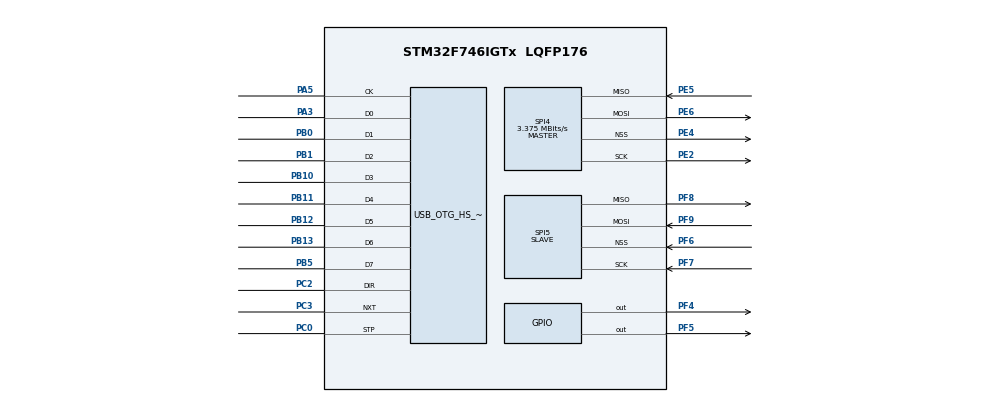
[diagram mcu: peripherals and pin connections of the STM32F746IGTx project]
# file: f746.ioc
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Dma.Request0=SPI4_RX
Dma.Request1=SPI4_TX
Dma.Request2=SPI5_RX
Dma.Request3=SPI5_TX
Dma.SPI4_RX.0.Direction=DMA_PERIPH_TO_MEMORY
Dma.SPI4_RX.0.FIFOMode=DMA_FIFOMODE_DISABLE
Dma.SPI4_RX.0.Instance=DMA2_Stream0
Dma.SPI4_RX.0.MemDataAlignment=DMA_MDATAALIGN_HALFWORD
Dma.SPI4_RX.0.MemInc=DMA_MINC_ENABLE
Dma.SPI4_RX.0.Mode=DMA_NORMAL
Dma.SPI4_RX.0.PeriphDataAlignment=DMA_PDATAALIGN_HALFWORD
Dma.SPI4_RX.0.PeriphInc=DMA_PINC_DISABLE
Dma.SPI4_RX.0.Priority=DMA_PRIORITY_LOW
Dma.SPI4_TX.1.Direction=DMA_MEMORY_TO_PERIPH
Dma.SPI4_TX.1.FIFOMode=DMA_FIFOMODE_DISABLE
Dma.SPI4_TX.1.Instance=DMA2_Stream1
Dma.SPI4_TX.1.MemDataAlignment=DMA_MDATAALIGN_HALFWORD
Dma.SPI4_TX.1.MemInc=DMA_MINC_ENABLE
Dma.SPI4_TX.1.Mode=DMA_NORMAL
Dma.SPI4_TX.1.PeriphDataAlignment=DMA_PDATAALIGN_HALFWORD
Dma.SPI4_TX.1.PeriphInc=DMA_PINC_DISABLE
Dma.SPI4_TX.1.Priority=DMA_PRIORITY_LOW
Dma.SPI5_RX.2.Direction=DMA_PERIPH_TO_MEMORY
Dma.SPI5_RX.2.FIFOMode=DMA_FIFOMODE_DISABLE
Dma.SPI5_RX.2.Instance=DMA2_Stream3
Dma.SPI5_RX.2.MemDataAlignment=DMA_MDATAALIGN_HALFWORD
Dma.SPI5_RX.2.MemInc=DMA_MINC_ENABLE
Dma.SPI5_RX.2.Mode=DMA_NORMAL
Dma.SPI5_RX.2.PeriphDataAlignment=DMA_PDATAALIGN_HALFWORD
Dma.SPI5_RX.2.PeriphInc=DMA_PINC_DISABLE
Dma.SPI5_RX.2.Priority=DMA_PRIORITY_LOW
Dma.SPI5_TX.3.Direction=DMA_MEMORY_TO_PERIPH
Dma.SPI5_TX.3.FIFOMode=DMA_FIFOMODE_DISABLE
Dma.SPI5_TX.3.Instance=DMA2_Stream4
Dma.SPI5_TX.3.MemDataAlignment=DMA_MDATAALIGN_HALFWORD
Dma.SPI5_TX.3.MemInc=DMA_MINC_ENABLE
Dma.SPI5_TX.3.Mode=DMA_NORMAL
Dma.SPI5_TX.3.PeriphDataAlignment=DMA_PDATAALIGN_HALFWORD
Dma.SPI5_TX.3.PeriphInc=DMA_PINC_DISABLE
Dma.SPI5_TX.3.Priority=DMA_PRIORITY_LOW
FREERTOS.Tasks01=defaultTask,0,128,StartDefaultTask,Default,NULL,Dynamic,NULL,NULL
Mcu.Family=STM32F7
Mcu.Name=STM32F746IGTx
Mcu.Package=LQFP176
NVIC.DMA2_Stream0_IRQn=true\:5\:0\:false\:false\:true\:true\:false\:true
NVIC.DMA2_Stream1_IRQn=true\:5\:0\:false\:false\:true\:true\:false\:true
NVIC.DMA2_Stream3_IRQn=true\:5\:0\:false\:false\:true\:true\:false\:true
NVIC.DMA2_Stream4_IRQn=true\:5\:0\:false\:false\:true\:true\:false\:true
NVIC.OTG_HS_IRQn=true\:5\:0\:false\:false\:true\:true\:false\:true
NVIC.PriorityGroup=NVIC_PRIORITYGROUP_4
NVIC.TIM1_UP_TIM10_IRQn=true\:0\:0\:false\:false\:true\:false\:false\:true
NVIC.TimeBase=TIM1_UP_TIM10_IRQn
NVIC.TimeBaseIP=TIM1
PA3.Mode=Device_HS
PA3.Signal=USB_OTG_HS_ULPI_D0
PA5.Mode=Device_HS
PA5.Signal=USB_OTG_HS_ULPI_CK
PB0.Mode=Device_HS
PB0.Signal=USB_OTG_HS_ULPI_D1
PB1.Mode=Device_HS
PB1.Signal=USB_OTG_HS_ULPI_D2
PB10.Mode=Device_HS
PB10.Signal=USB_OTG_HS_ULPI_D3
PB11.Mode=Device_HS
PB11.Signal=USB_OTG_HS_ULPI_D4
PB12.Mode=Device_HS
PB12.Signal=USB_OTG_HS_ULPI_D5
PB13.Mode=Device_HS
PB13.Signal=USB_OTG_HS_ULPI_D6
PB5.Mode=Device_HS
PB5.Signal=USB_OTG_HS_ULPI_D7
PC0.Mode=Device_HS
PC0.Signal=USB_OTG_HS_ULPI_STP
PC2.Mode=Device_HS
PC2.Signal=USB_OTG_HS_ULPI_DIR
PC3.Mode=Device_HS
PC3.Signal=USB_OTG_HS_ULPI_NXT
PE2.Mode=Full_Duplex_Master
PE2.Signal=SPI4_SCK
PE4.Mode=NSS_Signal_Hard_Output
PE4.Signal=SPI4_NSS
PE5.Mode=Full_Duplex_Master
PE5.Signal=SPI4_MISO
PE6.Mode=Full_Duplex_Master
PE6.Signal=SPI4_MOSI
PF4.Signal=GPIO_Output
PF5.Signal=GPIO_Output
PF6.Mode=NSS_Signal_Hard_Input
PF6.Signal=SPI5_NSS
PF7.Mode=Full_Duplex_Slave
PF7.Signal=SPI5_SCK
PF8.Mode=Full_Duplex_Slave
PF8.Signal=SPI5_MISO
PF9.Mode=Full_Duplex_Slave
PF9.Signal=SPI5_MOSI
PH0/OSC_IN.Mode=HSE-External-Oscillator
PH0/OSC_IN.Signal=RCC_OSC_IN
PH1/OSC_OUT.Mode=HSE-External-Oscillator
PH1/OSC_OUT.Signal=RCC_OSC_OUT
ProjectManager.HeapSize=0x4000
ProjectManager.StackSize=0x8000
ProjectManager.TargetToolchain=STM32CubeIDE
RCC.AHBFreq_Value=216000000
RCC.APB1CLKDivider=RCC_HCLK_DIV4
RCC.APB1Freq_Value=54000000
RCC.APB1TimFreq_Value=108000000
RCC.APB2CLKDivider=RCC_HCLK_DIV2
RCC.APB2Freq_Value=108000000
RCC.APB2TimFreq_Value=216000000
RCC.CortexFreq_Value=216000000
RCC.HCLKFreq_Value=216000000
RCC.HSE_VALUE=8000000
RCC.HSI_VALUE=16000000
RCC.LSE_VALUE=32768
RCC.PLLM=4
RCC.PLLN=216
RCC.PLLSourceVirtual=RCC_PLLSOURCE_HSE
RCC.SYSCLKFreq_VALUE=216000000
RCC.SYSCLKSource=RCC_SYSCLKSOURCE_PLLCLK
RCC.USBFreq_Value=216000000
RCC.VCOOutputFreq_Value=432000000
SPI4.BaudRatePrescaler=SPI_BAUDRATEPRESCALER_32
SPI4.CLKPhase=SPI_PHASE_2EDGE
SPI4.CalculateBaudRate=3.375 MBits/s
SPI4.DataSize=SPI_DATASIZE_8BIT
SPI4.Direction=SPI_DIRECTION_2LINES
SPI4.Mode=SPI_MODE_MASTER
SPI4.VirtualNSS=VM_NSSHARD
SPI4.VirtualType=VM_MASTER
SPI5.CLKPhase=SPI_PHASE_2EDGE
SPI5.DataSize=SPI_DATASIZE_8BIT
SPI5.Direction=SPI_DIRECTION_2LINES
SPI5.Mode=SPI_MODE_SLAVE
SPI5.VirtualNSS=VM_NSSHARD
SPI5.VirtualType=VM_SLAVE
USB_DEVICE.CLASS_NAME_HS=CDC
USB_DEVICE.VirtualMode-CDC_HS=Cdc
USB_DEVICE.VirtualModeHS=Cdc_HS
USB_OTG_HS.VirtualMode-Device_HS=Device_HS
VP_FREERTOS_VS_CMSIS_V1.Mode=CMSIS_V1
VP_SYS_VS_tim1.Mode=TIM1
VP_USB_DEVICE_VS_USB_DEVICE_CDC_HS.Mode=CDC_HS
board=custom

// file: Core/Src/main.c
/* USER CODE BEGIN Header */
/**
 ******************************************************************************
 * @file           : main.c
 * @brief          : Main program body
 ******************************************************************************
 * @attention
 *
 * <h2><center>&copy; Copyright (c) 2020 STMicroelectronics.
 * All rights reserved.</center></h2>
 *
 * This software component is licensed by ST under BSD 3-Clause license,
 * the "License"; You may not use this file except in compliance with the
 * License. You may obtain a copy of the License at:
 *                        opensource.org/licenses/BSD-3-Clause
 *
 ******************************************************************************
 */
/* USER CODE END Header */

#include "main.h"
#include "cmsis_os.h"
#include "usb_device.h"

osThreadId defaultTaskHandle;

void SystemClock_Config(void);
static void MX_GPIO_Init(void);
static void MX_DMA_Init(void);
static void MX_SPI4_Init(void);
static void MX_SPI5_Init(void);
void StartDefaultTask(void const *argument);

/* USER CODE BEGIN 0 */
static int matched(uint8_t const *a, uint8_t const *b, uint32_t size) {
	for (int i = 0; i < size; ++i) {
		if (a[i] != b[i]) {
			return 0;
		}
	}
	return 1;
}
/* USER CODE END 0 */

int main(void) {

	/* MCU Configuration--------------------------------------------------------*/

	/* Reset of all peripherals, Initializes the Flash interface and the Systick. */
	HAL_Init();

	/* Configure the system clock */
	SystemClock_Config();

	/* Initialize all configured peripherals */
	MX_GPIO_Init();
	MX_DMA_Init();
	MX_SPI4_Init();
	MX_SPI5_Init();

	/* Create the thread(s) */
	/* definition and creation of defaultTask */
	osThreadDef(defaultTask, StartDefaultTask, osPriorityNormal, 0, 128);
	defaultTaskHandle = osThreadCreate(osThread(defaultTask), NULL);

	/* Start scheduler */
	osKernelStart();

	/* We should never get here as control is now taken by the scheduler */

	/* Infinite loop */
	while (1) {

	}
}

void SystemClock_Config(void) {
	LL_FLASH_SetLatency(LL_FLASH_LATENCY_7);

	if (LL_FLASH_GetLatency() != LL_FLASH_LATENCY_7) {
		Error_Handler();
	}
	LL_PWR_SetRegulVoltageScaling(LL_PWR_REGU_VOLTAGE_SCALE1);
	LL_PWR_EnableOverDriveMode();
	LL_RCC_HSE_Enable();

	/* Wait till HSE is ready */
	while (LL_RCC_HSE_IsReady() != 1) {

	}
	LL_RCC_PLL_ConfigDomain_SYS(LL_RCC_PLLSOURCE_HSE, LL_RCC_PLLM_DIV_4, 216,
	LL_RCC_PLLP_DIV_2);
	LL_RCC_PLL_Enable();

	/* Wait till PLL is ready */
	while (LL_RCC_PLL_IsReady() != 1) {

	}
	LL_RCC_SetAHBPrescaler(LL_RCC_SYSCLK_DIV_1);
	LL_RCC_SetAPB1Prescaler(LL_RCC_APB1_DIV_4);
	LL_RCC_SetAPB2Prescaler(LL_RCC_APB2_DIV_2);
	LL_RCC_SetSysClkSource(LL_RCC_SYS_CLKSOURCE_PLL);

	/* Wait till System clock is ready */
	while (LL_RCC_GetSysClkSource() != LL_RCC_SYS_CLKSOURCE_STATUS_PLL) {

	}
	LL_SetSystemCoreClock(216000000);

	/* Update the time base */
	if (HAL_InitTick(TICK_INT_PRIORITY) != HAL_OK) {
		Error_Handler();
	};
}

static void MX_SPI4_Init(void) {

	LL_SPI_InitTypeDef SPI_InitStruct = { 0 };

	LL_GPIO_InitTypeDef GPIO_InitStruct = { 0 };

	/* Peripheral clock enable */
	LL_APB2_GRP1_EnableClock(LL_APB2_GRP1_PERIPH_SPI4);

	LL_AHB1_GRP1_EnableClock(LL_AHB1_GRP1_PERIPH_GPIOE);
	/**SPI4 GPIO Configuration
	 PE2   ------> SPI4_SCK
	 PE4   ------> SPI4_NSS
	 PE5   ------> SPI4_MISO
	 PE6   ------> SPI4_MOSI
	 */
	GPIO_InitStruct.Pin = LL_GPIO_PIN_2;
	GPIO_InitStruct.Mode = LL_GPIO_MODE_ALTERNATE;
	GPIO_InitStruct.Speed = LL_GPIO_SPEED_FREQ_VERY_HIGH;
	GPIO_InitStruct.OutputType = LL_GPIO_OUTPUT_PUSHPULL;
	GPIO_InitStruct.Pull = LL_GPIO_PULL_NO;
	GPIO_InitStruct.Alternate = LL_GPIO_AF_5;
	LL_GPIO_Init(GPIOE, &GPIO_InitStruct);

	GPIO_InitStruct.Pin = LL_GPIO_PIN_4;
	GPIO_InitStruct.Mode = LL_GPIO_MODE_ALTERNATE;
	GPIO_InitStruct.Speed = LL_GPIO_SPEED_FREQ_VERY_HIGH;
	GPIO_InitStruct.OutputType = LL_GPIO_OUTPUT_PUSHPULL;
	GPIO_InitStruct.Pull = LL_GPIO_PULL_NO;
	GPIO_InitStruct.Alternate = LL_GPIO_AF_5;
	LL_GPIO_Init(GPIOE, &GPIO_InitStruct);

	GPIO_InitStruct.Pin = LL_GPIO_PIN_5;
	GPIO_InitStruct.Mode = LL_GPIO_MODE_ALTERNATE;
	GPIO_InitStruct.Speed = LL_GPIO_SPEED_FREQ_VERY_HIGH;
	GPIO_InitStruct.OutputType = LL_GPIO_OUTPUT_PUSHPULL;
	GPIO_InitStruct.Pull = LL_GPIO_PULL_NO;
	GPIO_InitStruct.Alternate = LL_GPIO_AF_5;
	LL_GPIO_Init(GPIOE, &GPIO_InitStruct);

	GPIO_InitStruct.Pin = LL_GPIO_PIN_6;
	GPIO_InitStruct.Mode = LL_GPIO_MODE_ALTERNATE;
	GPIO_InitStruct.Speed = LL_GPIO_SPEED_FREQ_VERY_HIGH;
	GPIO_InitStruct.OutputType = LL_GPIO_OUTPUT_PUSHPULL;
	GPIO_InitStruct.Pull = LL_GPIO_PULL_NO;
	GPIO_InitStruct.Alternate = LL_GPIO_AF_5;
	LL_GPIO_Init(GPIOE, &GPIO_InitStruct);

	/* SPI4 DMA Init */

	/* SPI4_RX Init */
	LL_DMA_SetChannelSelection(DMA2, LL_DMA_STREAM_0, LL_DMA_CHANNEL_4);

	LL_DMA_SetDataTransferDirection(DMA2, LL_DMA_STREAM_0,
	LL_DMA_DIRECTION_PERIPH_TO_MEMORY);

	LL_DMA_SetStreamPriorityLevel(DMA2, LL_DMA_STREAM_0, LL_DMA_PRIORITY_LOW);

	LL_DMA_SetMode(DMA2, LL_DMA_STREAM_0, LL_DMA_MODE_NORMAL);

	LL_DMA_SetPeriphIncMode(DMA2, LL_DMA_STREAM_0, LL_DMA_PERIPH_NOINCREMENT);

	LL_DMA_SetMemoryIncMode(DMA2, LL_DMA_STREAM_0, LL_DMA_MEMORY_INCREMENT);

	LL_DMA_SetPeriphSize(DMA2, LL_DMA_STREAM_0, LL_DMA_PDATAALIGN_HALFWORD);

	LL_DMA_SetMemorySize(DMA2, LL_DMA_STREAM_0, LL_DMA_MDATAALIGN_HALFWORD);

	LL_DMA_DisableFifoMode(DMA2, LL_DMA_STREAM_0);

	/* SPI4_TX Init */
	LL_DMA_SetChannelSelection(DMA2, LL_DMA_STREAM_1, LL_DMA_CHANNEL_4);

	LL_DMA_SetDataTransferDirection(DMA2, LL_DMA_STREAM_1,
	LL_DMA_DIRECTION_MEMORY_TO_PERIPH);

	LL_DMA_SetStreamPriorityLevel(DMA2, LL_DMA_STREAM_1, LL_DMA_PRIORITY_LOW);

	LL_DMA_SetMode(DMA2, LL_DMA_STREAM_1, LL_DMA_MODE_NORMAL);

	LL_DMA_SetPeriphIncMode(DMA2, LL_DMA_STREAM_1, LL_DMA_PERIPH_NOINCREMENT);

	LL_DMA_SetMemoryIncMode(DMA2, LL_DMA_STREAM_1, LL_DMA_MEMORY_INCREMENT);

	LL_DMA_SetPeriphSize(DMA2, LL_DMA_STREAM_1, LL_DMA_PDATAALIGN_HALFWORD);

	LL_DMA_SetMemorySize(DMA2, LL_DMA_STREAM_1, LL_DMA_MDATAALIGN_HALFWORD);

	LL_DMA_DisableFifoMode(DMA2, LL_DMA_STREAM_1);

	/* SPI4 parameter configuration*/
	SPI_InitStruct.TransferDirection = LL_SPI_FULL_DUPLEX;
	SPI_InitStruct.Mode = LL_SPI_MODE_MASTER;
	SPI_InitStruct.DataWidth = LL_SPI_DATAWIDTH_8BIT;
	SPI_InitStruct.ClockPolarity = LL_SPI_POLARITY_LOW;
	SPI_InitStruct.ClockPhase = LL_SPI_PHASE_2EDGE;
	SPI_InitStruct.NSS = LL_SPI_NSS_HARD_OUTPUT;
	SPI_InitStruct.BaudRate = LL_SPI_BAUDRATEPRESCALER_DIV32;
	SPI_InitStruct.BitOrder = LL_SPI_MSB_FIRST;
	SPI_InitStruct.CRCCalculation = LL_SPI_CRCCALCULATION_DISABLE;
	SPI_InitStruct.CRCPoly = 7;
	LL_SPI_Init(SPI4, &SPI_InitStruct);
	LL_SPI_SetStandard(SPI4, LL_SPI_PROTOCOL_MOTOROLA);
	LL_SPI_DisableNSSPulseMgt(SPI4);
	/* USER CODE BEGIN SPI4_Init 2 */
	LL_SPI_Enable(SPI4);
	LL_SPI_EnableDMAReq_RX(SPI4);
	LL_SPI_EnableDMAReq_TX(SPI4);
	/* USER CODE END SPI4_Init 2 */

}

static void MX_SPI5_Init(void) {

	LL_SPI_InitTypeDef SPI_InitStruct = { 0 };

	LL_GPIO_InitTypeDef GPIO_InitStruct = { 0 };

	/* Peripheral clock enable */
	LL_APB2_GRP1_EnableClock(LL_APB2_GRP1_PERIPH_SPI5);

	LL_AHB1_GRP1_EnableClock(LL_AHB1_GRP1_PERIPH_GPIOF);
	/**SPI5 GPIO Configuration
	 PF6   ------> SPI5_NSS
	 PF7   ------> SPI5_SCK
	 PF8   ------> SPI5_MISO
	 PF9   ------> SPI5_MOSI
	 */
	GPIO_InitStruct.Pin = LL_GPIO_PIN_6;
	GPIO_InitStruct.Mode = LL_GPIO_MODE_ALTERNATE;
	GPIO_InitStruct.Speed = LL_GPIO_SPEED_FREQ_VERY_HIGH;
	GPIO_InitStruct.OutputType = LL_GPIO_OUTPUT_PUSHPULL;
	GPIO_InitStruct.Pull = LL_GPIO_PULL_NO;
	GPIO_InitStruct.Alternate = LL_GPIO_AF_5;
	LL_GPIO_Init(GPIOF, &GPIO_InitStruct);

	GPIO_InitStruct.Pin = LL_GPIO_PIN_7;
	GPIO_InitStruct.Mode = LL_GPIO_MODE_ALTERNATE;
	GPIO_InitStruct.Speed = LL_GPIO_SPEED_FREQ_VERY_HIGH;
	GPIO_InitStruct.OutputType = LL_GPIO_OUTPUT_PUSHPULL;
	GPIO_InitStruct.Pull = LL_GPIO_PULL_NO;
	GPIO_InitStruct.Alternate = LL_GPIO_AF_5;
	LL_GPIO_Init(GPIOF, &GPIO_InitStruct);

	GPIO_InitStruct.Pin = LL_GPIO_PIN_8;
	GPIO_InitStruct.Mode = LL_GPIO_MODE_ALTERNATE;
	GPIO_InitStruct.Speed = LL_GPIO_SPEED_FREQ_VERY_HIGH;
	GPIO_InitStruct.OutputType = LL_GPIO_OUTPUT_PUSHPULL;
	GPIO_InitStruct.Pull = LL_GPIO_PULL_NO;
	GPIO_InitStruct.Alternate = LL_GPIO_AF_5;
	LL_GPIO_Init(GPIOF, &GPIO_InitStruct);

	GPIO_InitStruct.Pin = LL_GPIO_PIN_9;
	GPIO_InitStruct.Mode = LL_GPIO_MODE_ALTERNATE;
	GPIO_InitStruct.Speed = LL_GPIO_SPEED_FREQ_VERY_HIGH;
	GPIO_InitStruct.OutputType = LL_GPIO_OUTPUT_PUSHPULL;
	GPIO_InitStruct.Pull = LL_GPIO_PULL_NO;
	GPIO_InitStruct.Alternate = LL_GPIO_AF_5;
	LL_GPIO_Init(GPIOF, &GPIO_InitStruct);

	/* SPI5 DMA Init */

	/* SPI5_RX Init */
	LL_DMA_SetChannelSelection(DMA2, LL_DMA_STREAM_3, LL_DMA_CHANNEL_2);

	LL_DMA_SetDataTransferDirection(DMA2, LL_DMA_STREAM_3,
	LL_DMA_DIRECTION_PERIPH_TO_MEMORY);

	LL_DMA_SetStreamPriorityLevel(DMA2, LL_DMA_STREAM_3, LL_DMA_PRIORITY_LOW);

	LL_DMA_SetMode(DMA2, LL_DMA_STREAM_3, LL_DMA_MODE_NORMAL);

	LL_DMA_SetPeriphIncMode(DMA2, LL_DMA_STREAM_3, LL_DMA_PERIPH_NOINCREMENT);

	LL_DMA_SetMemoryIncMode(DMA2, LL_DMA_STREAM_3, LL_DMA_MEMORY_INCREMENT);

	LL_DMA_SetPeriphSize(DMA2, LL_DMA_STREAM_3, LL_DMA_PDATAALIGN_HALFWORD);

	LL_DMA_SetMemorySize(DMA2, LL_DMA_STREAM_3, LL_DMA_MDATAALIGN_HALFWORD);

	LL_DMA_DisableFifoMode(DMA2, LL_DMA_STREAM_3);

	/* SPI5_TX Init */
	LL_DMA_SetChannelSelection(DMA2, LL_DMA_STREAM_4, LL_DMA_CHANNEL_2);

	LL_DMA_SetDataTransferDirection(DMA2, LL_DMA_STREAM_4,
	LL_DMA_DIRECTION_MEMORY_TO_PERIPH);

	LL_DMA_SetStreamPriorityLevel(DMA2, LL_DMA_STREAM_4, LL_DMA_PRIORITY_LOW);

	LL_DMA_SetMode(DMA2, LL_DMA_STREAM_4, LL_DMA_MODE_NORMAL);

	LL_DMA_SetPeriphIncMode(DMA2, LL_DMA_STREAM_4, LL_DMA_PERIPH_NOINCREMENT);

	LL_DMA_SetMemoryIncMode(DMA2, LL_DMA_STREAM_4, LL_DMA_MEMORY_INCREMENT);

	LL_DMA_SetPeriphSize(DMA2, LL_DMA_STREAM_4, LL_DMA_PDATAALIGN_HALFWORD);

	LL_DMA_SetMemorySize(DMA2, LL_DMA_STREAM_4, LL_DMA_MDATAALIGN_HALFWORD);

	LL_DMA_DisableFifoMode(DMA2, LL_DMA_STREAM_4);

	/* SPI5 parameter configuration*/
	SPI_InitStruct.TransferDirection = LL_SPI_FULL_DUPLEX;
	SPI_InitStruct.Mode = LL_SPI_MODE_SLAVE;
	SPI_InitStruct.DataWidth = LL_SPI_DATAWIDTH_8BIT;
	SPI_InitStruct.ClockPolarity = LL_SPI_POLARITY_LOW;
	SPI_InitStruct.ClockPhase = LL_SPI_PHASE_2EDGE;
	SPI_InitStruct.NSS = LL_SPI_NSS_HARD_INPUT;
	SPI_InitStruct.BitOrder = LL_SPI_MSB_FIRST;
	SPI_InitStruct.CRCCalculation = LL_SPI_CRCCALCULATION_DISABLE;
	SPI_InitStruct.CRCPoly = 7;
	LL_SPI_Init(SPI5, &SPI_InitStruct);
	LL_SPI_SetStandard(SPI5, LL_SPI_PROTOCOL_MOTOROLA);
	LL_SPI_DisableNSSPulseMgt(SPI5);
	/* USER CODE BEGIN SPI5_Init 2 */
	LL_SPI_Enable(SPI5);
	LL_SPI_EnableDMAReq_RX(SPI5);
	LL_SPI_EnableDMAReq_TX(SPI5);
	/* USER CODE END SPI5_Init 2 */

}

static void MX_DMA_Init(void) {

	/* Init with LL driver */
	/* DMA controller clock enable */
	LL_AHB1_GRP1_EnableClock(LL_AHB1_GRP1_PERIPH_DMA2);

	/* DMA interrupt init */
	/* DMA2_Stream0_IRQn interrupt configuration */
#if 0
	NVIC_SetPriority(DMA2_Stream0_IRQn,
			NVIC_EncodePriority(NVIC_GetPriorityGrouping(), 5, 0));
	NVIC_EnableIRQ(DMA2_Stream0_IRQn);
	/* DMA2_Stream1_IRQn interrupt configuration */
	NVIC_SetPriority(DMA2_Stream1_IRQn,
			NVIC_EncodePriority(NVIC_GetPriorityGrouping(), 5, 0));
	NVIC_EnableIRQ(DMA2_Stream1_IRQn);
	/* DMA2_Stream3_IRQn interrupt configuration */
	NVIC_SetPriority(DMA2_Stream3_IRQn,
			NVIC_EncodePriority(NVIC_GetPriorityGrouping(), 5, 0));
	NVIC_EnableIRQ(DMA2_Stream3_IRQn);
	/* DMA2_Stream4_IRQn interrupt configuration */
	NVIC_SetPriority(DMA2_Stream4_IRQn,
			NVIC_EncodePriority(NVIC_GetPriorityGrouping(), 5, 0));
	NVIC_EnableIRQ(DMA2_Stream4_IRQn);
#endif
}

static void MX_GPIO_Init(void) {
	LL_GPIO_InitTypeDef GPIO_InitStruct = { 0 };

	/* GPIO Ports Clock Enable */
	LL_AHB1_GRP1_EnableClock(LL_AHB1_GRP1_PERIPH_GPIOE);
	LL_AHB1_GRP1_EnableClock(LL_AHB1_GRP1_PERIPH_GPIOF);
	LL_AHB1_GRP1_EnableClock(LL_AHB1_GRP1_PERIPH_GPIOH);
	LL_AHB1_GRP1_EnableClock(LL_AHB1_GRP1_PERIPH_GPIOC);
	LL_AHB1_GRP1_EnableClock(LL_AHB1_GRP1_PERIPH_GPIOA);
	LL_AHB1_GRP1_EnableClock(LL_AHB1_GRP1_PERIPH_GPIOB);

	/**/
	LL_GPIO_ResetOutputPin(GPIOF, LL_GPIO_PIN_4);

	/**/
	LL_GPIO_ResetOutputPin(GPIOF, LL_GPIO_PIN_5);

	/**/
	GPIO_InitStruct.Pin = LL_GPIO_PIN_4;
	GPIO_InitStruct.Mode = LL_GPIO_MODE_OUTPUT;
	GPIO_InitStruct.Speed = LL_GPIO_SPEED_FREQ_LOW;
	GPIO_InitStruct.OutputType = LL_GPIO_OUTPUT_PUSHPULL;
	GPIO_InitStruct.Pull = LL_GPIO_PULL_NO;
	LL_GPIO_Init(GPIOF, &GPIO_InitStruct);

	/**/
	GPIO_InitStruct.Pin = LL_GPIO_PIN_5;
	GPIO_InitStruct.Mode = LL_GPIO_MODE_OUTPUT;
	GPIO_InitStruct.Speed = LL_GPIO_SPEED_FREQ_LOW;
	GPIO_InitStruct.OutputType = LL_GPIO_OUTPUT_PUSHPULL;
	GPIO_InitStruct.Pull = LL_GPIO_PULL_NO;
	LL_GPIO_Init(GPIOF, &GPIO_InitStruct);

}

void StartDefaultTask(void const *argument) {
	/* init code for USB_DEVICE */
	MX_USB_DEVICE_Init();
	/* USER CODE BEGIN 5 */
#define N 42
#define M N / 2
	uint8_t tx_slave[N] = { 0, 1, 2, 3, 4, 5, 6, 7, 8, 9, 10, 11, 12, 13, 14,
			15, 16, 17, 18, 19, 20, 21, 22, 23, 24, 25, 26, 27, 28, 29, 30, 31,
			32, 33, 34, 35, 36, 37, 38, 39, 40, 41 };
	uint8_t rx_slave[N] = { 0 };
	uint8_t tx_master[N] = { 0x40, 0x8b, 0x02, 0x05, 0x38, 0x90, 0x3f, 0x19,
			0x51, 0x28, 0x90, 0xa8, 0x15, 0x18, 0x7f, 0xed, 0x7a, 0xb1, 0x47,
			0x61, 0xd4, 0x76, 0x0d, 0xe3, 0xea, 0x4f, 0xd7, 0x57, 0x6b, 0xef,
			0x27, 0x26, 0xbb, 0xf2, 0x28, 0x1b, 0x48, 0x4c, 0x98, 0x59, 0x29,
			0xfb };
	uint8_t rx_master[N] = { 0 };

	// master tx
	LL_DMA_ConfigAddresses(DMA2, LL_DMA_STREAM_1, (uint32_t) tx_master,
			LL_SPI_DMA_GetRegAddr(SPI4),
			LL_DMA_GetDataTransferDirection(DMA2, LL_DMA_STREAM_1));
	LL_DMA_SetDataLength(DMA2, LL_DMA_STREAM_1, M);
	// master rx
	LL_DMA_ConfigAddresses(DMA2, LL_DMA_STREAM_0, LL_SPI_DMA_GetRegAddr(SPI4),
			(uint32_t) rx_master,
			LL_DMA_GetDataTransferDirection(DMA2, LL_DMA_STREAM_0));
	LL_DMA_SetDataLength(DMA2, LL_DMA_STREAM_0, M);

	// slave tx
	LL_DMA_ConfigAddresses(DMA2, LL_DMA_STREAM_4, (uint32_t) tx_master,
			LL_SPI_DMA_GetRegAddr(SPI5),
			LL_DMA_GetDataTransferDirection(DMA2, LL_DMA_STREAM_4));
	LL_DMA_SetDataLength(DMA2, LL_DMA_STREAM_4, M);
	// slave rx
	LL_DMA_ConfigAddresses(DMA2, LL_DMA_STREAM_3, LL_SPI_DMA_GetRegAddr(SPI5),
			(uint32_t) rx_master,
			LL_DMA_GetDataTransferDirection(DMA2, LL_DMA_STREAM_3));
	LL_DMA_SetDataLength(DMA2, LL_DMA_STREAM_3, M);

	/* Infinite loop */
	for (;;) {
		// start slave dma
		LL_DMA_EnableStream(DMA2, LL_DMA_STREAM_3);
		LL_DMA_EnableStream(DMA2, LL_DMA_STREAM_4);

		// start master dma
		LL_DMA_EnableStream(DMA2, LL_DMA_STREAM_1);
		LL_DMA_EnableStream(DMA2, LL_DMA_STREAM_0);

		while (LL_DMA_IsEnabledStream(DMA2, LL_DMA_STREAM_1)) {
			osDelay(1);
		}
		while (LL_DMA_IsEnabledStream(DMA2, LL_DMA_STREAM_0)) {
			osDelay(1);
		}
		while (LL_DMA_IsEnabledStream(DMA2, LL_DMA_STREAM_3)) {
			osDelay(1);
		}
		while (LL_DMA_IsEnabledStream(DMA2, LL_DMA_STREAM_4)) {
			osDelay(1);
		}
		int error = 0;
		if (matched(rx_master, tx_slave, N)) {
			error |= 0x01;
		}
		if (matched(rx_slave, tx_master, N)) {
			error |= 0x02;
		}
		if (error == 0) {
			for (int i = 0; i < 6; ++i) {
				LL_GPIO_TogglePin(GPIOF, LL_GPIO_PIN_4);
				LL_GPIO_TogglePin(GPIOF, LL_GPIO_PIN_5);
				osDelay(500);
			}
		} else {
			for (int i = 0; i < 30; ++i) {
				LL_GPIO_TogglePin(GPIOF, LL_GPIO_PIN_4);
				LL_GPIO_TogglePin(GPIOF, LL_GPIO_PIN_5);
				osDelay(100);
			}
		}
	}
	/* USER CODE END 5 */
}

void HAL_TIM_PeriodElapsedCallback(TIM_HandleTypeDef *htim) {
	if (htim->Instance == TIM1) {
		HAL_IncTick();
	}
}

void Error_Handler(void) {
}

/************************ (C) COPYRIGHT STMicroelectronics *****END OF FILE****/
